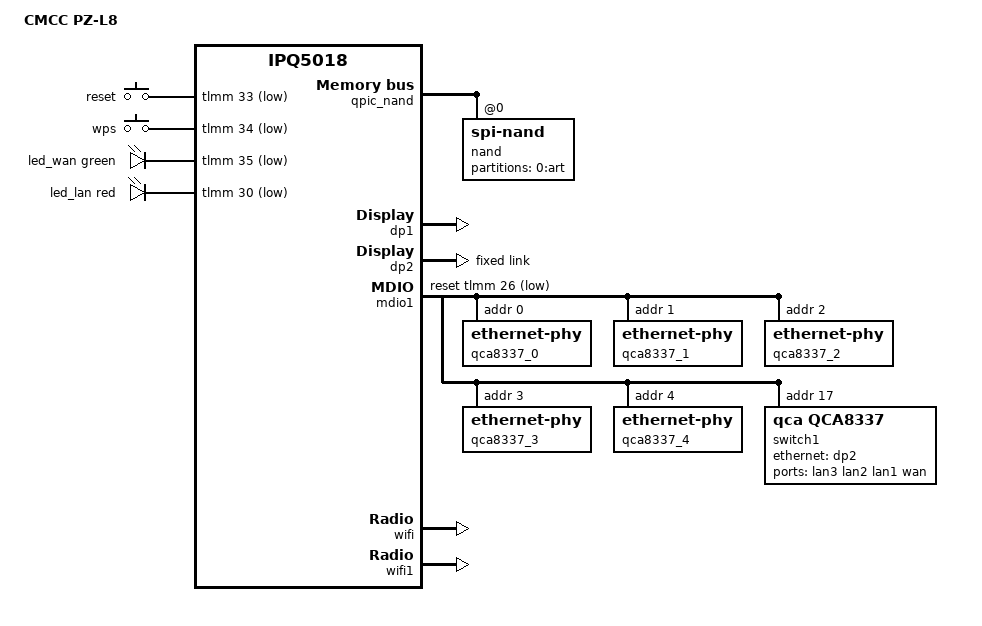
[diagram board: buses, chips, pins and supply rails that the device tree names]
// SPDX-License-Identifier: GPL-2.0-or-later OR MIT

/dts-v1/;

#include "ipq5018.dtsi"
#include "ipq5018-ess.dtsi"
#include "ipq5018-nss.dtsi"
#include "ipq5018-common.dtsi"

#include <dt-bindings/gpio/gpio.h>
#include <dt-bindings/input/input.h>
#include <dt-bindings/leds/common.h>

/ {
	model = "CMCC PZ-L8";
	compatible = "cmcc,pz-l8", "qcom,ipq5018";

	aliases {
		serial0 = &blsp1_uart1;
		led-boot = &led_wan;
		led-failsafe = &led_lan;
		led-running = &led_wan;
		led-upgrade = &led_lan;
		label-mac-device = <&dp1>;
	};

	chosen {
		stdout-path = "serial0:115200n8";
		bootargs-append = " root=/dev/ubiblock0_1";
	};

	keys {
		compatible = "gpio-keys";

		reset-button {
			label = "reset";
			gpios = <&tlmm 33 GPIO_ACTIVE_LOW>;
			linux,code = <KEY_RESTART>;
		};

		wps-button {
			label = "wps";
			gpios = <&tlmm 34 GPIO_ACTIVE_LOW>;
			linux,code = <KEY_WPS_BUTTON>;
		};
	};

	leds {
		compatible = "gpio-leds";

		led_wan: led-0 {
			gpios = <&tlmm 35 GPIO_ACTIVE_LOW>;
			color = <LED_COLOR_ID_GREEN>;
			function = LED_FUNCTION_WAN;
			default-state = "off";
		};

		led_lan: led-1 {
			gpios = <&tlmm 30 GPIO_ACTIVE_LOW>;
			color = <LED_COLOR_ID_RED>;
			function = LED_FUNCTION_LAN;
		};
	};
};

&qpic_nand {
	status = "okay";

	pinctrl-0 = <&qpic_pins>;
	pinctrl-names = "default";

	nand@0 {
		compatible = "spi-nand";
		reg = <0>;

		nand-ecc-engine = <&qpic_nand>;
		nand-ecc-strength = <4>;
		nand-ecc-step-size = <512>;
		nand-bus-width = <8>;

		partitions {
			compatible = "qcom,smem-part";

			partition-art {
				label = "0:art";
				read-only;

				nvmem-layout {
					compatible = "fixed-layout";
					#address-cells = <1>;
					#size-cells = <1>;

					hw_mac_addr: mac-address@0 {
						compatible = "mac-base";
						reg = <0x0 0x6>;
						#nvmem-cell-cells = <1>;
					};
				};
			};
		};
	};
};

&dp1 {
	status = "okay";

	nvmem-cells = <&hw_mac_addr 0>;
	nvmem-cell-names = "mac-address";
};

&dp2 {
	status = "okay";

	nvmem-cells = <&hw_mac_addr 1>;
	nvmem-cell-names = "mac-address";

	fixed-link {
		speed = <1000>;
		full-duplex;
	};
};

&mdio1 {
	status = "okay";

	pinctrl-0 = <&mdio1_pins>;
	pinctrl-names = "default";
	reset-gpios = <&tlmm 26 GPIO_ACTIVE_LOW>;

	qca8337_0: ethernet-phy@0 {
		reg = <0>;
	};

	qca8337_1: ethernet-phy@1 {
		reg = <1>;
	};

	qca8337_2: ethernet-phy@2 {
		reg = <2>;
	};

	qca8337_3: ethernet-phy@3 {
		reg = <3>;
	};

	qca8337_4: ethernet-phy@4 {
		reg = <4>;
	};

	switch1: ethernet-switch@17 {
		compatible = "qca,qca8337";
		reg = <17>;
		#address-cells = <1>;
		#size-cells = <0>;

		ports {
			#address-cells = <1>;
			#size-cells = <0>;

			port@1 {
				reg = <1>;
				label = "lan3";
				phy-handle = <&qca8337_0>;
			};

			port@2 {
				reg = <2>;
				label = "lan2";
				phy-handle = <&qca8337_1>;
			};

			port@3 {
				reg = <3>;
				label = "lan1";
				phy-handle = <&qca8337_2>;
			};

			port@4 {
				reg = <4>;
				label = "wan";
				phy-handle = <&qca8337_3>;
			};

			/*
			 * WAN cannot work if added
			 * port@5 {
			 * 	reg = <5>;
			 * 	phy-handle = <&qca8337_4>;
			 * 	phy-mode = "gmii";
			 * 	ethernet = <&dp1>;
			 * };
			 */

			port@6 {
				reg = <6>;
				phy-mode = "sgmii";
				ethernet = <&dp2>;
				qca,sgmii-enable-pll;

				fixed-link {
					speed = <1000>;
					full-duplex;
				};
			};
		};
	};
};

&wifi {
	status = "okay";

	qcom,rproc = <&q6_wcss_pd1>;
	qcom,userpd-subsys-name = "q6v5_wcss_userpd1";
	qcom,ath11k-calibration-variant = "CMCC-PZ-L8";
};

&wifi1 {
	status = "okay";

	qcom,rproc = <&q6_wcss_pd2>;
	qcom,userpd-subsys-name = "q6v5_wcss_userpd2";
	qcom,ath11k-calibration-variant = "CMCC-PZ-L8";
};
